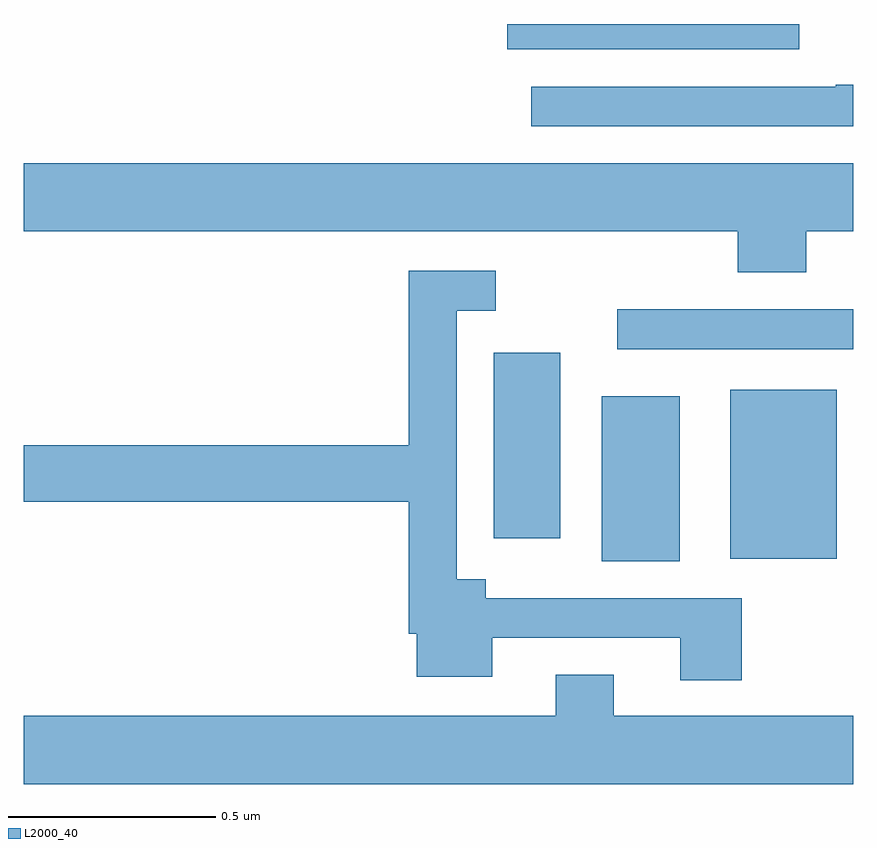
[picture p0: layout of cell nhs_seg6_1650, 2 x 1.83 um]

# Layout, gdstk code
import gdstk
lib = gdstk.Library(unit=1e-6, precision=1e-09)
def R(c, l, rs):  # rectangles x0, y0, x1, y1
    for r in rs: c.add(gdstk.rectangle(r[:2], r[2:], *l))
def P(c, l, *ps):  # polygons
    for p in ps: c.add(gdstk.Polygon(p, *l))
L2000_40 = (2000, 40)

nhs_seg6_1650 = lib.new_cell('nhs_seg6_1650')
R(nhs_seg6_1650, L2000_40, [(133.394,949.205,133.582,949.603), (133.703,949.211,133.96,949.618), (133.133,949.26,133.294,949.708), (133.431,949.716,134,949.812), (133.166,950.439,133.87,950.5)])
P(nhs_seg6_1650, L2000_40, [(134,950.354),(133.957,950.354),(133.957,950.349),(133.224,950.349),(133.224,950.253),(134,950.253)],
  [(133.886,950),(134,950),(134,950.164),(132,950.164),(132,950),(133.721,950),(133.721,949.901),(133.886,949.901)],
  [(133.731,949.116),(133.114,949.116),(133.114,949.162),(133.044,949.162),(133.044,949.809),(133.138,949.809),(133.138,949.905),(132.928,949.905),(132.928,949.484),(132,949.484),(132,949.348),(132.928,949.348),(132.928,949.03),(132.947,949.03),(132.947,948.926),(133.129,948.926),(133.129,949.02),(133.583,949.02),(133.583,948.918),(133.731,948.918)],
  [(134,948.832),(133.423,948.832),(133.423,948.931),(133.283,948.931),(133.283,948.832),(132,948.832),(132,948.668),(134,948.668)])

lib.write_gds('nhs_seg6_1650.gds')
